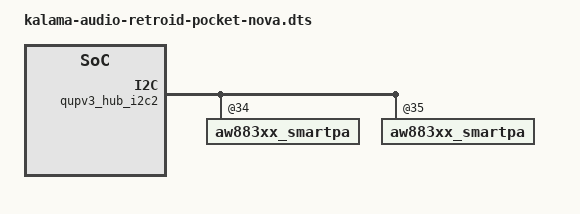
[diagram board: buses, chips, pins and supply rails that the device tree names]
/dts-v1/;
/plugin/;

#include "kalama-audio-moorechip.dtsi"
#include "kalama-audio-moorechip-no-hdmi.dtsi"

/ {
	compatible = "qcom,kalama-hdk", "qcom,kalama", "qcom,hdk",
			"qcom,kalamap";
	qcom,msm-id = <603 0x20000>;
	qcom,board-id = <0x1001f 0>;
	moorechip,device-id = <6>;
};

&qupv3_hub_i2c2 {
	aw883xx_smartpa@34 {
		sound-channel = <1>;
	};

	aw883xx_smartpa@35 {
		sound-channel = <0>;
	};
};
